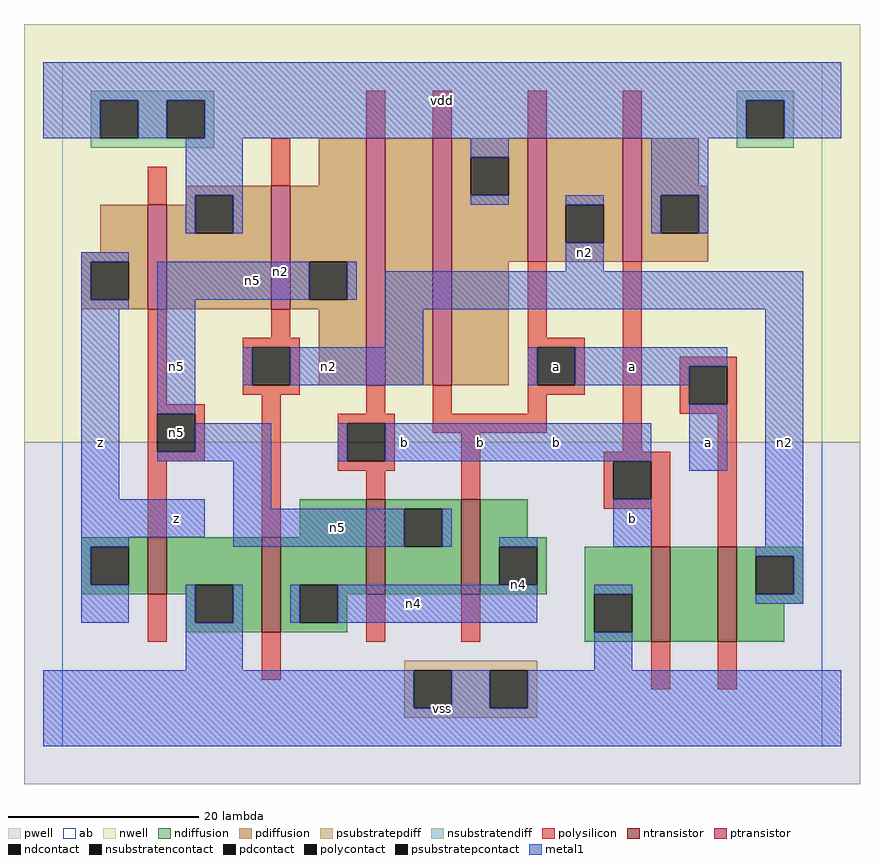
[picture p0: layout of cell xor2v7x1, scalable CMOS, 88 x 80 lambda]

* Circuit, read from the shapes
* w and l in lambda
.subckt xor2v7x1 a b n2 n4 n5 vdd vss z
M1 vss n5 z vss nfet w=6 l=2
M2 n4 n2 vss vss nfet w=10 l=2
M3 n5 b n4 vss nfet w=10 l=2
M4 n4 a n5 vss nfet w=10 l=2
M5 n1 b vss vss nfet w=10 l=2
M6 n2 a n1 vss nfet w=10 l=2
M7 vdd n5 z vdd pfet w=11 l=2
M8 n5 n2 vdd vdd pfet w=13 l=2
M9 n3 b n5 vdd pfet w=26 l=2
M10 vdd a n3 vdd pfet w=26 l=2
M11 n2 a vdd vdd pfet w=13 l=2
M12 vdd b n2 vdd pfet w=13 l=2
.ends

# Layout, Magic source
magic
tech scmos
<< ab >>
rect 0 0 80 72
<< pwell >>
rect -4 -4 84 32
<< nwell >>
rect -4 32 84 76
<< polysilicon >>
rect 32 64 34 69
rect 39 64 41 69
rect 49 64 51 69
rect 59 64 61 69
rect 9 57 11 61
rect 22 59 24 64
rect 9 36 11 46
rect 22 43 24 46
rect 19 42 25 43
rect 19 38 20 42
rect 24 38 25 42
rect 49 43 51 51
rect 49 42 55 43
rect 49 38 50 42
rect 54 38 55 42
rect 19 37 25 38
rect 9 35 15 36
rect 9 31 10 35
rect 14 31 15 35
rect 9 30 15 31
rect 9 22 11 30
rect 21 22 23 37
rect 32 35 34 38
rect 39 35 41 38
rect 49 37 55 38
rect 49 35 51 37
rect 29 34 35 35
rect 29 30 30 34
rect 34 30 35 34
rect 39 33 51 35
rect 29 29 35 30
rect 32 26 34 29
rect 42 26 44 33
rect 59 31 61 51
rect 65 40 71 41
rect 65 36 66 40
rect 70 36 71 40
rect 65 35 71 36
rect 57 30 64 31
rect 57 26 58 30
rect 62 26 64 30
rect 9 11 11 16
rect 57 25 64 26
rect 62 21 64 25
rect 69 21 71 35
rect 21 7 23 12
rect 32 11 34 16
rect 42 11 44 16
rect 62 6 64 11
rect 69 6 71 11
<< ndiffusion >>
rect 25 22 32 26
rect 2 21 9 22
rect 2 17 3 21
rect 7 17 9 21
rect 2 16 9 17
rect 11 17 21 22
rect 11 16 14 17
rect 13 13 14 16
rect 18 13 21 17
rect 13 12 21 13
rect 23 17 32 22
rect 23 13 25 17
rect 29 16 32 17
rect 34 25 42 26
rect 34 21 36 25
rect 40 21 42 25
rect 34 16 42 21
rect 44 22 49 26
rect 44 21 51 22
rect 44 17 46 21
rect 50 17 51 21
rect 44 16 51 17
rect 55 16 62 21
rect 29 13 30 16
rect 23 12 30 13
rect 55 12 56 16
rect 60 12 62 16
rect 55 11 62 12
rect 64 11 69 21
rect 71 20 78 21
rect 71 16 73 20
rect 77 16 78 20
rect 71 15 78 16
rect 71 11 76 15
<< pdiffusion >>
rect 27 59 32 64
rect 13 58 22 59
rect 13 57 14 58
rect 4 52 9 57
rect 2 51 9 52
rect 2 47 3 51
rect 7 47 9 51
rect 2 46 9 47
rect 11 54 14 57
rect 18 54 22 58
rect 11 46 22 54
rect 24 51 32 59
rect 24 47 26 51
rect 30 47 32 51
rect 24 46 32 47
rect 27 38 32 46
rect 34 38 39 64
rect 41 62 49 64
rect 41 58 43 62
rect 47 58 49 62
rect 41 51 49 58
rect 51 57 59 64
rect 51 53 53 57
rect 57 53 59 57
rect 51 51 59 53
rect 61 59 67 64
rect 61 58 68 59
rect 61 54 63 58
rect 67 54 68 58
rect 61 51 68 54
rect 41 38 47 51
<< metal1 >>
rect -2 68 82 72
rect -2 64 4 68
rect 8 64 11 68
rect 15 64 72 68
rect 76 64 82 68
rect 13 58 19 64
rect 13 54 14 58
rect 18 54 19 58
rect 43 62 47 64
rect 62 58 68 64
rect 43 57 47 58
rect 53 57 57 58
rect 62 54 63 58
rect 67 54 68 58
rect 2 51 7 52
rect 2 47 3 51
rect 2 46 7 47
rect 10 47 26 51
rect 30 47 31 51
rect 53 50 57 53
rect 2 26 6 46
rect 10 35 14 47
rect 34 46 78 50
rect 34 42 38 46
rect 19 38 20 42
rect 24 38 38 42
rect 49 38 50 42
rect 54 40 70 42
rect 54 38 66 40
rect 14 31 22 34
rect 10 30 22 31
rect 29 30 30 34
rect 34 30 62 34
rect 2 22 15 26
rect 18 25 22 30
rect 66 29 70 36
rect 2 21 7 22
rect 18 21 36 25
rect 40 21 41 25
rect 46 21 50 22
rect 58 21 62 26
rect 74 21 78 46
rect 2 17 3 21
rect 73 20 78 21
rect 2 13 7 17
rect 13 13 14 17
rect 18 13 19 17
rect 24 13 25 17
rect 29 13 50 17
rect 56 16 60 17
rect 13 8 19 13
rect 77 16 78 20
rect 73 15 78 16
rect 56 8 60 12
rect -2 4 37 8
rect 41 4 45 8
rect 49 4 82 8
rect -2 0 82 4
<< ntransistor >>
rect 9 16 11 22
rect 21 12 23 22
rect 32 16 34 26
rect 42 16 44 26
rect 62 11 64 21
rect 69 11 71 21
<< ptransistor >>
rect 9 46 11 57
rect 22 46 24 59
rect 32 38 34 64
rect 39 38 41 64
rect 49 51 51 64
rect 59 51 61 64
<< polycontact >>
rect 20 38 24 42
rect 50 38 54 42
rect 10 31 14 35
rect 30 30 34 34
rect 66 36 70 40
rect 58 26 62 30
<< ndcontact >>
rect 3 17 7 21
rect 14 13 18 17
rect 25 13 29 17
rect 36 21 40 25
rect 46 17 50 21
rect 56 12 60 16
rect 73 16 77 20
<< pdcontact >>
rect 3 47 7 51
rect 14 54 18 58
rect 26 47 30 51
rect 43 58 47 62
rect 53 53 57 57
rect 63 54 67 58
<< psubstratepcontact >>
rect 37 4 41 8
rect 45 4 49 8
<< nsubstratencontact >>
rect 4 64 8 68
rect 11 64 15 68
rect 72 64 76 68
<< psubstratepdiff >>
rect 36 8 50 9
rect 36 4 37 8
rect 41 4 45 8
rect 49 4 50 8
rect 36 3 50 4
<< nsubstratendiff >>
rect 3 68 16 69
rect 3 64 4 68
rect 8 64 11 68
rect 15 64 16 68
rect 71 68 77 69
rect 71 64 72 68
rect 76 64 77 68
rect 3 63 16 64
rect 71 63 77 64
<< labels >>
rlabel polycontact 12 33 12 33 6 n5
rlabel ptransistor 23 50 23 50 6 n2
rlabel metal1 4 32 4 32 6 z
rlabel metal1 12 24 12 24 6 z
rlabel metal1 12 40 12 40 6 n5
rlabel metal1 36 32 36 32 6 b
rlabel metal1 28 40 28 40 6 n2
rlabel metal1 20 49 20 49 6 n5
rlabel metal1 40 4 40 4 6 vss
rlabel metal1 37 15 37 15 6 n4
rlabel metal1 48 17 48 17 6 n4
rlabel metal1 44 32 44 32 6 b
rlabel metal1 29 23 29 23 6 n5
rlabel metal1 52 32 52 32 6 b
rlabel polycontact 52 40 52 40 6 a
rlabel metal1 55 52 55 52 6 n2
rlabel metal1 40 68 40 68 6 vdd
rlabel metal1 60 24 60 24 6 b
rlabel metal1 68 32 68 32 6 a
rlabel metal1 60 40 60 40 6 a
rlabel metal1 76 32 76 32 6 n2
<< end >>
